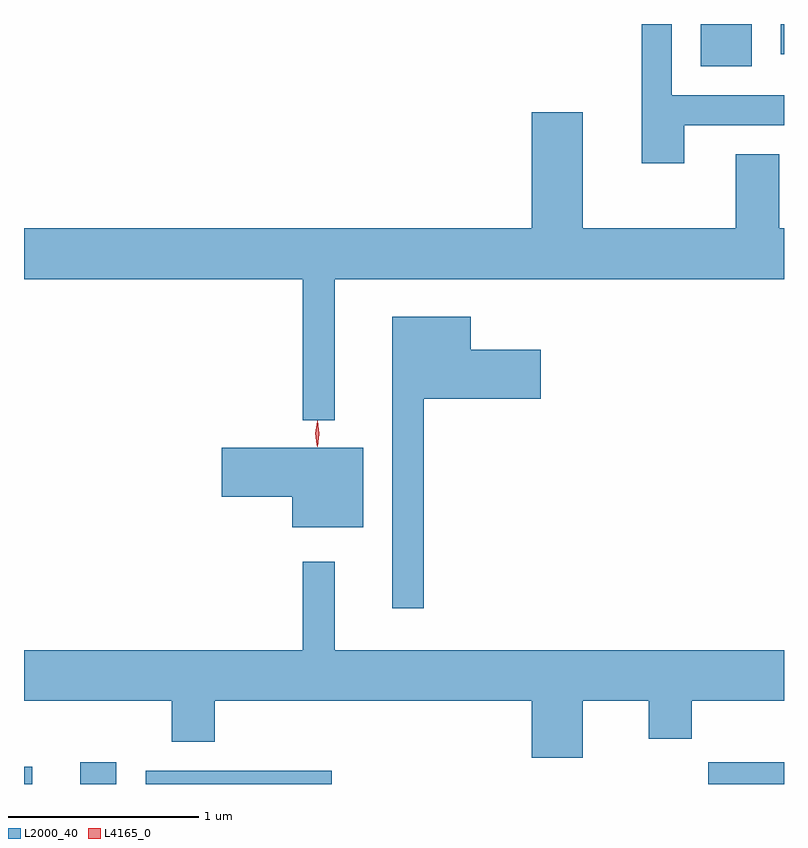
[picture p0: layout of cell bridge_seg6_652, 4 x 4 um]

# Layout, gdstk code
import gdstk
lib = gdstk.Library(unit=1e-6, precision=1e-09)
def R(c, l, rs):  # rectangles x0, y0, x1, y1
    for r in rs: c.add(gdstk.rectangle(r[:2], r[2:], *l))
def P(c, l, *ps):  # polygons
    for p in ps: c.add(gdstk.Polygon(p, *l))
L2000_40 = (2000, 40)
L4165_0 = (4165, 0)

bridge_seg6_652 = lib.new_cell('bridge_seg6_652')
R(bridge_seg6_652, L2000_40, [(232.384,1662.819,232.428,1662.909), (232.681,1662.819,232.869,1662.934), (233.026,1662.819,234.004,1662.889), (235.986,1662.819,236.384,1662.934), (235.946,1666.596,236.214,1666.819), (236.366,1666.661,236.384,1666.819)])
P(bridge_seg6_652, L2000_40, [(235.859,1666.286),(236.384,1666.286),(236.384,1666.444),(235.794,1666.444),(235.794,1666.819),(235.636,1666.819),(235.636,1666.086),(235.859,1666.086)],
  [(234.019,1665.476),(236.384,1665.476),(236.384,1665.744),(236.359,1665.744),(236.359,1666.134),(236.131,1666.134),(236.131,1665.744),(235.324,1665.744),(235.324,1666.354),(235.056,1666.354),(235.056,1665.744),(232.384,1665.744),(232.384,1665.476),(233.851,1665.476),(233.851,1664.733),(234.019,1664.733)],
  [(234.489,1664.846),(235.104,1664.846),(235.104,1665.104),(234.734,1665.104),(234.734,1665.279),(234.321,1665.279),(234.321,1663.743),(234.489,1663.743)],
  [(234.169,1664.589),(233.426,1664.589),(233.426,1664.331),(233.796,1664.331),(233.796,1664.171),(234.169,1664.171)],
  [(235.324,1663.256),(235.671,1663.256),(235.671,1663.056),(235.899,1663.056),(235.899,1663.256),(236.384,1663.256),(236.384,1663.524),(234.019,1663.524),(234.019,1663.988),(233.851,1663.988),(233.851,1663.524),(232.384,1663.524),(232.384,1663.256),(233.161,1663.256),(233.161,1663.041),(233.389,1663.041),(233.389,1663.256),(235.056,1663.256),(235.056,1662.956),(235.324,1662.956)])
P(bridge_seg6_652, L4165_0, [(233.928,1664.594),(233.919,1664.662),(233.928,1664.73),(233.929,1664.73),(233.93,1664.73),(233.939,1664.662),(233.93,1664.594),(233.929,1664.594)],
  [(233.927,1664.6),(233.926,1664.601),(233.918,1664.664),(233.928,1664.726),(233.929,1664.727),(233.93,1664.726),(233.938,1664.664),(233.927,1664.601)])

lib.write_gds('bridge_seg6_652.gds')
